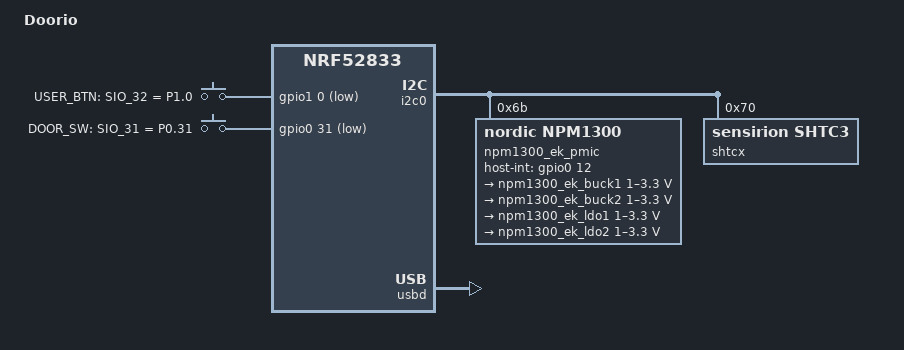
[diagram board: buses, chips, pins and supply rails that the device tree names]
/dts-v1/;
#include <nordic/nrf52833_qiaa.dtsi>
#include "doorio-pinctrl.dtsi"

#include <dt-bindings/regulator/npm1300.h>
#include <zephyr/dt-bindings/input/input-event-codes.h>

/ {
	model = "Doorio";
	compatible = "gabiche,doorio";

	chosen {
		zephyr,console = &cdc_acm_uart;
		zephyr,uart-mcumgr = &cdc_acm_uart;

		zephyr,sram = &sram0;
		zephyr,flash = &flash0;
		zephyr,code-partition = &slot0_partition;
	};

	// leds {
		//     compatible = "gpio-leds";

		//     led1: led_1 {
			//         gpios = <&gpio0 14 GPIO_ACTIVE_HIGH>;
			//         label = "LED 1";
		//     };
	// };

	buttons {
		compatible = "gpio-keys";

		sw0: button_1 {
			gpios = <&gpio1 0 GPIO_ACTIVE_LOW>;
			label = "USER_BTN: SIO_32 = P1.0";
			zephyr,code = <INPUT_KEY_0>;
		};

		sw1: button_2 {
			gpios = <&gpio0 31 (GPIO_ACTIVE_LOW | GPIO_PULL_UP)>;
			label = "DOOR_SW: SIO_31 = P0.31";
			zephyr,code = <INPUT_KEY_1>;
		};

	};
};

&gpiote {
	status = "okay";
};

&gpio0 {
	status = "okay";
	wakeup-source;
};

&gpio1 {
	status = "okay";

};


&uart0 {
	compatible = "nordic,nrf-uart";
	current-speed = <115200>;
	status = "disabled";
	pinctrl-0 = <&uart0_default>;
	pinctrl-1 = <&uart0_sleep>;
	pinctrl-names = "default", "sleep";
};

&i2c0 {
	compatible = "nordic,nrf-twi";
	status = "okay";

	pinctrl-0 = <&i2c0_default>;
	pinctrl-1 = <&i2c0_sleep>;
	pinctrl-names = "default", "sleep";


	npm1300_ek_pmic: pmic@6b {
		compatible = "nordic,npm1300";
		reg = <0x6b>;
		// zephyr,pm-device-runtime-auto;

		host-int-gpios = <&gpio0 12 0>;
		pmic-int-pin = <1>;
		// long-press-reset = "one-button";
		// ship-to-active-time = <96>;


		npm1300_ek_gpio: gpio-controller {
			compatible = "nordic,npm1300-gpio";
			gpio-controller;
			#gpio-cells = <2>;
			ngpios = <5>;
		};

		npm1300_ek_regulators: regulators {
			compatible = "nordic,npm1300-regulator";


			npm1300_ek_buck1: BUCK1 {
				regulator-min-microvolt = <1000000>;
				regulator-max-microvolt = <3300000>;

				retention-microvolt = <1000000>;
			};

			npm1300_ek_buck2: BUCK2 {
				regulator-min-microvolt = <1000000>;
				regulator-max-microvolt = <3300000>;

				retention-microvolt = <3000000>;
			};



			npm1300_ek_ldo1: LDO1 {
				regulator-initial-mode = <NPM1300_LDSW_MODE_LDSW>;

				regulator-min-microvolt = <1000000>;
				regulator-max-microvolt = <3300000>;
				// soft-start-microamp = <20000>;
			};



			npm1300_ek_ldo2: LDO2 {
				regulator-min-microvolt = <1000000>;
				regulator-max-microvolt = <3300000>;
				regulator-initial-mode = <NPM1300_LDSW_MODE_LDSW>;
				// soft-start-microamp = <20000>;
			};

		};


		npm1300_ek_charger: charger {
			compatible = "nordic,npm1300-charger";
			term-microvolt = <4200000>;
			term-warm-microvolt = <4000000>;
			// term-current-percent = <10>;
			current-microamp = <100000>;
			// trickle-microvolt = <2500000>;
			dischg-limit-microamp = <1340000>;
			vbus-limit-microamp = <100000>;
			thermistor-ohms = <10000>;
			thermistor-beta = <3380>;
			// disable-recharge;
			charging-enable;
		};


		npm1300_ek_leds: leds {
			compatible = "nordic,npm1300-led";
			nordic,led0-mode = "host";
			nordic,led1-mode = "charging";
			nordic,led2-mode = "host";
		};

	};

	shtcx: shtc3@70 {
		compatible = "sensirion,shtc3", "sensirion,shtcx";
		reg = <0x70>;
		measure-mode = "normal";
		clock-stretching;
	};
};

zephyr_udc0: &usbd {
	compatible = "nordic,nrf-usbd";
	status = "okay";

	cdc_acm_uart: cdc_acm_uart0 {
		compatible = "zephyr,cdc-acm-uart";
		status = "okay";
	};
};

&flash0 {
	partitions {
		compatible = "fixed-partitions";
		#address-cells = <1>;
		#size-cells = <1>;

		boot_partition: partition@0 {
			label = "mcuboot";
			reg = <0x00000000 DT_SIZE_K(48)>;
		};

		slot0_partition: partition@c000 {
			label = "image-0";
			reg = <0x0000c000 DT_SIZE_K(220)>;
		};

		slot1_partition: partition@43000 {
			label = "image-1";
			reg = <0x00043000 DT_SIZE_K(220)>;
		};

		storage_partition: partition@7a000 {
			label = "storage";
			reg = <0x0007a000 DT_SIZE_K(24)>;
		};
	};
};

